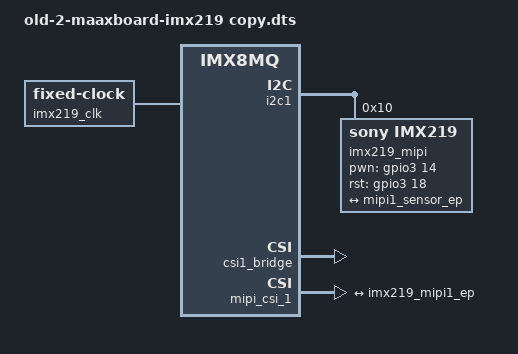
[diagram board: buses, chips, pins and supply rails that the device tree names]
/dts-v1/;
/plugin/;

#include <dt-bindings/clock/imx8mq-clock.h>
#include <dt-bindings/gpio/gpio.h>

/{
	compatible = "avnet,maaxboard", "fsl,imx8mq";

    fragment@0 {
        target = <&i2c1>;
        __overlay__ {
            #address-cells = <1>;
			#size-cells = <0>;
            imx219_mipi@10 {
                compatible = "sony,imx219";
                reg = <0x10>;

                pinctrl-names = "default";
				pinctrl-0 = <&pinctrl_csi1>;

                clocks = <&imx219_clk>;
				clock-names = "xclk";

                csi_id = <0>;
				pwn-gpios = <&gpio3 14 GPIO_ACTIVE_HIGH>;
				rst-gpios = <&gpio3 18 GPIO_ACTIVE_HIGH>;
				status = "okay";

				mclk = <24000000>;
				mclk_source = <0>;

                port {
					imx219_mipi1_ep: endpoint {
						data-lanes = <1 2>;
                        remote-endpoint = <&mipi1_sensor_ep>;
						link-frequencies =
							/bits/ 64 <456000000>;
					};
				};
            };
        };
    };

    fragment@1 {
		target = <&csi1_bridge>;
		__overlay__ {
			status = "okay";
		};
	};

    fragment@2 {
		target = <&mipi_csi_1>;
		__overlay__ {
			status = "okay";
			port {
				mipi1_sensor_ep: endpoint@0 {
					remote-endpoint = <&imx219_mipi1_ep>;
				    data-lanes = <1 2>;
                    bus-type = <4>;
				};
			};
		};
	};

	fragment@3 {
		target-path="/";
		__overlay__ {
			imx219_clk: camera-clk {
				compatible = "fixed-clock";
				#clock-cells = <0>;
				clock-frequency = <24000000>;
			};
		};
	};
};
